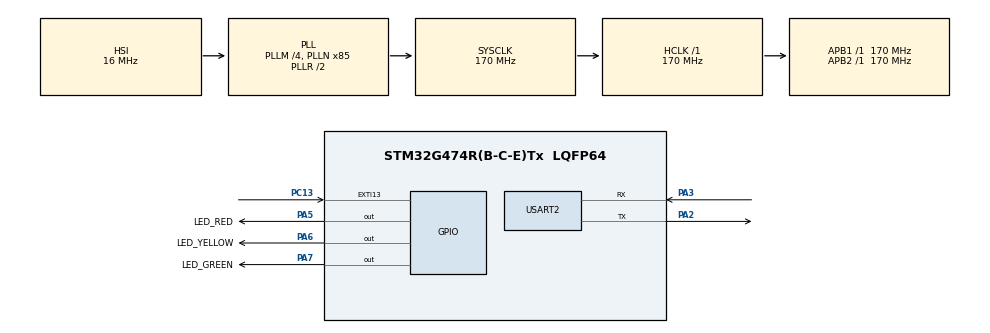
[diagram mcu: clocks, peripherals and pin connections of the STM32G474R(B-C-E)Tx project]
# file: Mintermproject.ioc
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Mcu.Family=STM32G4
Mcu.Name=STM32G474R(B-C-E)Tx
Mcu.Package=LQFP64
NVIC.EXTI15_10_IRQn=true\:0\:0\:false\:false\:true\:true\:true\:true
NVIC.PriorityGroup=NVIC_PRIORITYGROUP_4
PA13.GPIO_Label=T_SWDIO
PA13.Signal=SYS_JTMS-SWDIO
PA14.GPIO_Label=T_SWCLK
PA14.Signal=SYS_JTCK-SWCLK
PA2.Mode=Asynchronous
PA2.Signal=USART2_TX
PA3.Mode=Asynchronous
PA3.Signal=USART2_RX
PA5.GPIO_Label=LED_RED
PA5.Signal=GPIO_Output
PA6.GPIO_Label=LED_YELLOW
PA6.Signal=GPIO_Output
PA7.GPIO_Label=LED_GREEN
PA7.Signal=GPIO_Output
PB3.GPIO_Label=T_SWO
PB3.Signal=SYS_JTDO-SWO
PC13.GPIO_PuPd=GPIO_PULLUP
PC13.Signal=GPXTI13
PC14-OSC32_IN.GPIO_Label=RCC_OSC32_IN
PC14-OSC32_IN.Signal=RCC_OSC32_IN
PC15-OSC32_OUT.GPIO_Label=RCC_OSC32_OUT
PC15-OSC32_OUT.Signal=RCC_OSC32_OUT
PF0-OSC_IN.GPIO_Label=RCC_OSC_IN
PF0-OSC_IN.Signal=RCC_OSC_IN
PF1-OSC_OUT.GPIO_Label=RCC_OSC_OUT
PF1-OSC_OUT.Signal=RCC_OSC_OUT
ProjectManager.HeapSize=0x200
ProjectManager.StackSize=0x400
ProjectManager.TargetToolchain=STM32CubeIDE
RCC.ADC12Freq_Value=170000000
RCC.ADC345Freq_Value=170000000
RCC.AHBFreq_Value=170000000
RCC.APB1Freq_Value=170000000
RCC.APB1TimFreq_Value=170000000
RCC.APB2Freq_Value=170000000
RCC.APB2TimFreq_Value=170000000
RCC.CortexFreq_Value=170000000
RCC.EXTERNAL_CLOCK_VALUE=12288000
RCC.HCLKFreq_Value=170000000
RCC.HSE_VALUE=24000000
RCC.HSI48_VALUE=48000000
RCC.HSI_VALUE=16000000
RCC.LSE_VALUE=32768
RCC.PLLM=RCC_PLLM_DIV4
RCC.PLLN=85
RCC.RTCClockSelection=RCC_RTCCLKSOURCE_LSE
RCC.SYSCLKFreq_VALUE=170000000
RCC.SYSCLKSource=RCC_SYSCLKSOURCE_PLLCLK
RCC.USBFreq_Value=170000000
RCC.VCOOutputFreq_Value=340000000
TIM2.Prescaler=169
USART2.VirtualMode-Asynchronous=VM_ASYNC
VP_SYS_VS_DBSignals.Mode=DisableDeadBatterySignals
VP_TIM2_VS_ClockSourceINT.Mode=Internal
board=NUCLEO-G474RE

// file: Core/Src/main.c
/* USER CODE BEGIN Header */
/**
  ******************************************************************************
  * @file           : main.c
  * @brief          : Main program body
  ******************************************************************************
  * @attention
  *
  * Copyright (c) 2026 STMicroelectronics.
  * All rights reserved.
  *
  * This software is licensed under terms that can be found in the LICENSE file
  * in the root directory of this software component.
  * If no LICENSE file comes with this software, it is provided AS-IS.
  *
  ******************************************************************************
  */
/* USER CODE END Header */
#include "main.h"

/* USER CODE BEGIN Includes */
#include <stdio.h>   // 支援 sprintf() 格式化字串
#include <string.h>  // 支援 strlen() 字串長度計算
#include <stdlib.h>  // 支援 rand() 隨機數生成
/* USER CODE END Includes */

TIM_HandleTypeDef htim2;

UART_HandleTypeDef huart2;

/* USER CODE BEGIN PV */
typedef enum {
    GAME_READY = 0,    // 待機準備
    GAME_COUNTDOWN,    // 隨機倒數 (亮紅/黃燈，監控偷跑)
    GAME_GO,           // 綠燈亮起 (開始計時)
    GAME_OVER          // 測試結束/計算成績
} GameState_t;

volatile GameState_t current_state = GAME_READY;
volatile uint32_t reaction_time_us = 0; // 反應時間 (微秒)
/* USER CODE END PV */

void SystemClock_Config(void);
static void MX_GPIO_Init(void);
static void MX_TIM2_Init(void);
static void MX_USART2_UART_Init(void);

int main(void)
{

  /* MCU Configuration--------------------------------------------------------*/

  /* Reset of all peripherals, Initializes the Flash interface and the Systick. */
  HAL_Init();

  /* Configure the system clock */
  SystemClock_Config();

  /* Initialize all configured peripherals */
  MX_GPIO_Init();
  MX_TIM2_Init();
  MX_USART2_UART_Init();

  /* Infinite loop */
  while (1)
  {

    /* USER CODE BEGIN 3 */
	  // 1. 待機階段：熄滅所有燈號，狀態重置
	      current_state = GAME_READY;
	      HAL_GPIO_WritePin(GPIOA, LED_RED_Pin|LED_YELLOW_Pin|LED_GREEN_Pin, GPIO_PIN_RESET);
	      HAL_Delay(2000); // 待機 2 秒

	      // 2. 隨機倒數階段 - 亮紅燈
	      current_state = GAME_COUNTDOWN;
	      HAL_GPIO_WritePin(GPIOA, LED_RED_Pin, GPIO_PIN_SET);
	      HAL_Delay(1000);

	      // 【關鍵防護 1】：檢查紅燈期間是否已經偷跑，若偷跑則跳過後續亮燈！
	      if (current_state == GAME_COUNTDOWN)
	      {
	          HAL_GPIO_WritePin(GPIOA, LED_YELLOW_Pin, GPIO_PIN_SET); // 亮黃燈

	          // 隨機延遲 1.5 到 3 秒
	          uint32_t random_delay = 1500 + (rand() % 1500);
	          uint32_t delay_start = HAL_GetTick();

	          // 使用非阻塞等待，若中間偷跑（狀態變 GAME_OVER）立刻中斷等待
	          while (current_state == GAME_COUNTDOWN && (HAL_GetTick() - delay_start < random_delay))
	          {
	              // 等待倒數
	          }
	      }

	      // 【關鍵防護 2】：只有在全程「零偷跑」的情況下，才進入綠燈起跑階段
	      if (current_state == GAME_COUNTDOWN)
	      {
	          // 3. 綠燈起跑階段
	          current_state = GAME_GO;
	          HAL_GPIO_WritePin(GPIOA, LED_RED_Pin|LED_YELLOW_Pin, GPIO_PIN_RESET); // 關閉紅黃燈
	          HAL_GPIO_WritePin(GPIOA, LED_GREEN_Pin, GPIO_PIN_SET);                // 亮起綠燈

	          // 重置並啟動 TIM2 計時器
	          __HAL_TIM_SET_COUNTER(&htim2, 0);
	          HAL_TIM_Base_Start(&htim2);

	          uint32_t start_tick = HAL_GetTick();

	          // 判斷：若玩家按按鈕（狀態變 GAME_OVER）或滿 3 秒超時，則離開迴圈
	          while (current_state == GAME_GO && (HAL_GetTick() - start_tick < 3000))
	          {
	              // 等待玩家按按鈕觸發 EXTI
	          }

	          // 若超過 3 秒玩家都未按下按鈕（超時處理）
	          if (current_state == GAME_GO)
	          {
	              current_state = GAME_OVER;
	              HAL_TIM_Base_Stop(&htim2);
	              HAL_GPIO_WritePin(GPIOA, LED_GREEN_Pin, GPIO_PIN_RESET); // 熄滅綠燈

	              char *msg = "TIMEOUT\r\n";
	              HAL_UART_Transmit(&huart2, (uint8_t*)msg, strlen(msg), 100);
	          }
	      }

	      // 4. 結算清場：確保所有燈熄滅，等待進入下一局
	      HAL_GPIO_WritePin(GPIOA, LED_RED_Pin|LED_YELLOW_Pin|LED_GREEN_Pin, GPIO_PIN_RESET);
	      HAL_Delay(2000);
  }
  /* USER CODE END 3 */
}

void SystemClock_Config(void)
{
  RCC_OscInitTypeDef RCC_OscInitStruct = {0};
  RCC_ClkInitTypeDef RCC_ClkInitStruct = {0};

  /** Configure the main internal regulator output voltage
  */
  HAL_PWREx_ControlVoltageScaling(PWR_REGULATOR_VOLTAGE_SCALE1_BOOST);

  /** Initializes the RCC Oscillators according to the specified parameters
  * in the RCC_OscInitTypeDef structure.
  */
  RCC_OscInitStruct.OscillatorType = RCC_OSCILLATORTYPE_HSI;
  RCC_OscInitStruct.HSIState = RCC_HSI_ON;
  RCC_OscInitStruct.HSICalibrationValue = RCC_HSICALIBRATION_DEFAULT;
  RCC_OscInitStruct.PLL.PLLState = RCC_PLL_ON;
  RCC_OscInitStruct.PLL.PLLSource = RCC_PLLSOURCE_HSI;
  RCC_OscInitStruct.PLL.PLLM = RCC_PLLM_DIV4;
  RCC_OscInitStruct.PLL.PLLN = 85;
  RCC_OscInitStruct.PLL.PLLP = RCC_PLLP_DIV2;
  RCC_OscInitStruct.PLL.PLLQ = RCC_PLLQ_DIV2;
  RCC_OscInitStruct.PLL.PLLR = RCC_PLLR_DIV2;
  if (HAL_RCC_OscConfig(&RCC_OscInitStruct) != HAL_OK)
  {
    Error_Handler();
  }

  /** Initializes the CPU, AHB and APB buses clocks
  */
  RCC_ClkInitStruct.ClockType = RCC_CLOCKTYPE_HCLK|RCC_CLOCKTYPE_SYSCLK
                              |RCC_CLOCKTYPE_PCLK1|RCC_CLOCKTYPE_PCLK2;
  RCC_ClkInitStruct.SYSCLKSource = RCC_SYSCLKSOURCE_PLLCLK;
  RCC_ClkInitStruct.AHBCLKDivider = RCC_SYSCLK_DIV1;
  RCC_ClkInitStruct.APB1CLKDivider = RCC_HCLK_DIV1;
  RCC_ClkInitStruct.APB2CLKDivider = RCC_HCLK_DIV1;

  if (HAL_RCC_ClockConfig(&RCC_ClkInitStruct, FLASH_LATENCY_4) != HAL_OK)
  {
    Error_Handler();
  }
}

static void MX_TIM2_Init(void)
{

  TIM_ClockConfigTypeDef sClockSourceConfig = {0};
  TIM_MasterConfigTypeDef sMasterConfig = {0};

  htim2.Instance = TIM2;
  htim2.Init.Prescaler = 169;
  htim2.Init.CounterMode = TIM_COUNTERMODE_UP;
  htim2.Init.Period = 4294967295;
  htim2.Init.ClockDivision = TIM_CLOCKDIVISION_DIV1;
  htim2.Init.AutoReloadPreload = TIM_AUTORELOAD_PRELOAD_DISABLE;
  if (HAL_TIM_Base_Init(&htim2) != HAL_OK)
  {
    Error_Handler();
  }
  sClockSourceConfig.ClockSource = TIM_CLOCKSOURCE_INTERNAL;
  if (HAL_TIM_ConfigClockSource(&htim2, &sClockSourceConfig) != HAL_OK)
  {
    Error_Handler();
  }
  sMasterConfig.MasterOutputTrigger = TIM_TRGO_RESET;
  sMasterConfig.MasterSlaveMode = TIM_MASTERSLAVEMODE_DISABLE;
  if (HAL_TIMEx_MasterConfigSynchronization(&htim2, &sMasterConfig) != HAL_OK)
  {
    Error_Handler();
  }

}

static void MX_USART2_UART_Init(void)
{

  huart2.Instance = USART2;
  huart2.Init.BaudRate = 115200;
  huart2.Init.WordLength = UART_WORDLENGTH_8B;
  huart2.Init.StopBits = UART_STOPBITS_1;
  huart2.Init.Parity = UART_PARITY_NONE;
  huart2.Init.Mode = UART_MODE_TX_RX;
  huart2.Init.HwFlowCtl = UART_HWCONTROL_NONE;
  huart2.Init.OverSampling = UART_OVERSAMPLING_16;
  huart2.Init.OneBitSampling = UART_ONE_BIT_SAMPLE_DISABLE;
  huart2.Init.ClockPrescaler = UART_PRESCALER_DIV1;
  huart2.AdvancedInit.AdvFeatureInit = UART_ADVFEATURE_NO_INIT;
  if (HAL_UART_Init(&huart2) != HAL_OK)
  {
    Error_Handler();
  }
  if (HAL_UARTEx_SetTxFifoThreshold(&huart2, UART_TXFIFO_THRESHOLD_1_8) != HAL_OK)
  {
    Error_Handler();
  }
  if (HAL_UARTEx_SetRxFifoThreshold(&huart2, UART_RXFIFO_THRESHOLD_1_8) != HAL_OK)
  {
    Error_Handler();
  }
  if (HAL_UARTEx_DisableFifoMode(&huart2) != HAL_OK)
  {
    Error_Handler();
  }

}

static void MX_GPIO_Init(void)
{
  GPIO_InitTypeDef GPIO_InitStruct = {0};

  /* GPIO Ports Clock Enable */
  __HAL_RCC_GPIOC_CLK_ENABLE();
  __HAL_RCC_GPIOF_CLK_ENABLE();
  __HAL_RCC_GPIOA_CLK_ENABLE();
  __HAL_RCC_GPIOB_CLK_ENABLE();

  /*Configure GPIO pin Output Level */
  HAL_GPIO_WritePin(GPIOA, LED_RED_Pin|LED_YELLOW_Pin|LED_GREEN_Pin, GPIO_PIN_RESET);

  /*Configure GPIO pin : PC13 */
  GPIO_InitStruct.Pin = GPIO_PIN_13;
  GPIO_InitStruct.Mode = GPIO_MODE_IT_RISING;
  GPIO_InitStruct.Pull = GPIO_PULLUP;
  HAL_GPIO_Init(GPIOC, &GPIO_InitStruct);

  /*Configure GPIO pins : LED_RED_Pin LED_YELLOW_Pin LED_GREEN_Pin */
  GPIO_InitStruct.Pin = LED_RED_Pin|LED_YELLOW_Pin|LED_GREEN_Pin;
  GPIO_InitStruct.Mode = GPIO_MODE_OUTPUT_PP;
  GPIO_InitStruct.Pull = GPIO_NOPULL;
  GPIO_InitStruct.Speed = GPIO_SPEED_FREQ_LOW;
  HAL_GPIO_Init(GPIOA, &GPIO_InitStruct);

  /* EXTI interrupt init*/
  HAL_NVIC_SetPriority(EXTI15_10_IRQn, 0, 0);
  HAL_NVIC_EnableIRQ(EXTI15_10_IRQn);

}

/* USER CODE BEGIN 4 */
// 當玩家按下按鈕時，硬體會自動觸發此中斷服務常式
void HAL_GPIO_EXTI_Callback(uint16_t GPIO_Pin)
{
    if (GPIO_Pin == GPIO_PIN_13) // 請確認為您設定的按鈕腳位
    {
        if (current_state == GAME_COUNTDOWN)
        {
            // 【偷跑處理】：關閉所有燈號（含紅燈、黃燈）
            current_state = GAME_OVER;
            HAL_TIM_Base_Stop(&htim2);

            HAL_GPIO_WritePin(GPIOA, LED_RED_Pin|LED_YELLOW_Pin|LED_GREEN_Pin, GPIO_PIN_RESET);

            char *msg = "FALSE_START\r\n";
            HAL_UART_Transmit(&huart2, (uint8_t*)msg, strlen(msg), 100);
        }
        else if (current_state == GAME_GO)
        {
            // 【正常按壓】：擷取時間並「立刻熄滅綠燈」
            reaction_time_us = __HAL_TIM_GET_COUNTER(&htim2);
            HAL_TIM_Base_Stop(&htim2);
            current_state = GAME_OVER;

            // 💡 關鍵修正：按下瞬間立刻將綠燈熄滅！
            HAL_GPIO_WritePin(GPIOA, LED_GREEN_Pin, GPIO_PIN_RESET);

            char buf[64];
            int len = sprintf(buf, "TIME:%lu_US\r\n", reaction_time_us);
            HAL_UART_Transmit(&huart2, (uint8_t*)buf, len, 100);
        }
    }
}
/* USER CODE END 4 */

void Error_Handler(void)
{
  __disable_irq();
  while (1)
  {
  }
}
